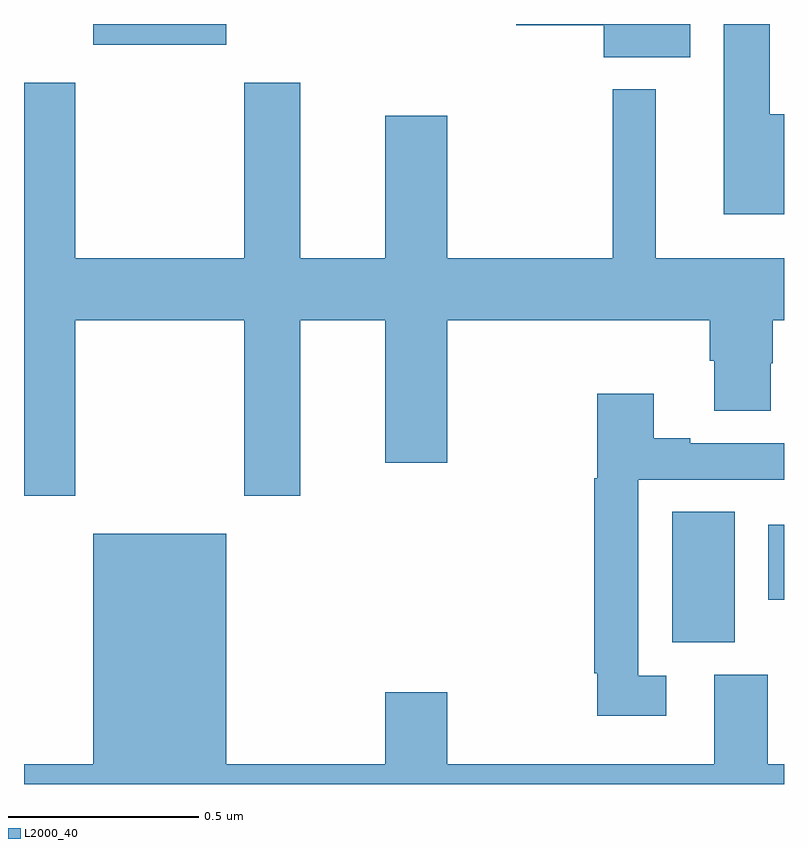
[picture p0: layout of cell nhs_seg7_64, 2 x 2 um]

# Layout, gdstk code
import gdstk
lib = gdstk.Library(unit=1e-6, precision=1e-09)
def R(c, l, rs):  # rectangles x0, y0, x1, y1
    for r in rs: c.add(gdstk.rectangle(r[:2], r[2:], *l))
def P(c, l, *ps):  # polygons
    for p in ps: c.add(gdstk.Polygon(p, *l))
L2000_40 = (2000, 40)

nhs_seg7_64 = lib.new_cell('nhs_seg7_64')
R(nhs_seg7_64, L2000_40, [(112.706,1062.373,112.87,1062.716), (112.958,1062.485,113,1062.682), (111.182,1063.946,111.532,1064)])
P(nhs_seg7_64, L2000_40, [(112.753,1064),(112.296,1064),(112.296,1063.997),(112.526,1063.997),(112.526,1063.913),(112.753,1063.913)],
  [(113,1063.762),(112.963,1063.762),(112.963,1064),(112.841,1064),(112.841,1063.499),(113,1063.499)],
  [(111.135,1063.22),(111.58,1063.22),(111.58,1062.759),(111.727,1062.759),(111.727,1063.22),(111.95,1063.22),(111.95,1062.846),(112.114,1062.846),(112.114,1063.22),(112.805,1063.22),(112.805,1063.114),(112.817,1063.114),(112.817,1062.982),(112.965,1062.982),(112.965,1063.107),(112.97,1063.107),(112.97,1063.22),(113,1063.22),(113,1063.384),(112.663,1063.384),(112.663,1063.828),(112.549,1063.828),(112.549,1063.384),(112.114,1063.384),(112.114,1063.759),(111.95,1063.759),(111.95,1063.384),(111.727,1063.384),(111.727,1063.846),(111.58,1063.846),(111.58,1063.384),(111.135,1063.384),(111.135,1063.846),(111,1063.846),(111,1062.759),(111.135,1062.759)],
  [(112.69,1062.285),(112.617,1062.285),(112.617,1062.801),(113,1062.801),(113,1062.897),(112.753,1062.897),(112.753,1062.91),(112.657,1062.91),(112.657,1063.027),(112.509,1063.027),(112.509,1062.804),(112.501,1062.804),(112.501,1062.292),(112.509,1062.292),(112.509,1062.18),(112.69,1062.18)],
  [(113,1062.052),(112.957,1062.052),(112.957,1062.288),(112.817,1062.288),(112.817,1062.052),(112.114,1062.052),(112.114,1062.241),(111.95,1062.241),(111.95,1062.052),(111.532,1062.052),(111.532,1062.658),(111.182,1062.658),(111.182,1062.052),(111,1062.052),(111,1062),(113,1062)])

lib.write_gds('nhs_seg7_64.gds')
